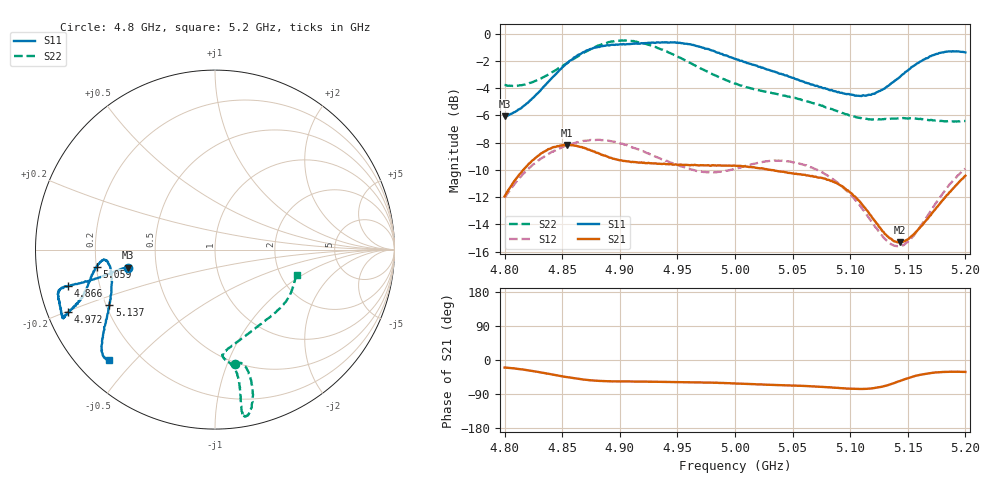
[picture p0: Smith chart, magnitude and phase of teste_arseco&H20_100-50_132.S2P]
! Network Analyzer HP8722D
! Hewlett-Packard
! Data name: Linha & Wilkinson
! Saver's name: Rodrigo Anjos
! Comments: Teste da utilização de aquisição
! continua pelo VNA HP8722D
! Time and date: 6/5/2025 13:40
!  Frequency  S11  S21  S12  S22
# HZ  S  MA R 50
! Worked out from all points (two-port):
!   401 points, 4.8 GHz to 5.2 GHz, reference 50 ohm
!   highest |S21| = -8.17 dB at 4.854 GHz (marker M1); lowest = -15.3 dB at 5.143 GHz (marker M2)
!   |S21| within 3 dB of the highest: 4.806 GHz to 5.092 GHz (286.5 MHz wide, 5.79 % of centre); 5.191366 GHz to end of sweep
!   lowest |S11| = -6.1 dB at 4.8 GHz (marker M3), VSWR 2.98, Z = 16.9 - j4.53 ohm
!   |S11| at or under -10 dB: nowhere
!   |S22| runs from -6.5 to -0.5 dB; largest |S21 - S12| = 0.62
!   S11 on the Smith chart (normalised r, x): 4.8 GHz: 0.34, -0.09; 4.866 GHz: 0.09, -0.12; 4.972 GHz: 0.06, -0.20; 5.059 GHz: 0.20, -0.07; 5.137 GHz: 0.21, -0.23; 5.2 GHz: 0.09, -0.42
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4.8e9  0.4975 -168.3  0.2528 -19.9  0.2497 -141.1  0.6485 -80.3
4.829e9  0.6054 -167.1  0.3557 -31.4  0.3419 -145.4  0.6783 -75.3
4.854e9  0.7776 -166.0  0.3906 -45.1  0.3887 -150.1  0.7794 -74.8
4.866e9  0.8428 -166.1  0.3837 -50.5  0.4017 -152.1  0.8387 -75.4
4.867e9  0.8481 -165.9  0.3836 -51.1  0.4022 -152.2  0.842 -75.5
4.899e9  0.9125 -163.1  0.344 -56.7  0.3969 -156.8  0.942 -79.2
4.934e9  0.9279 -156.6  0.3331 -57.5  0.3501 -155.7  0.8823 -80.5
4.951e9  0.9246 -155.8  0.3301 -58.3  0.328 -152.7  0.8199 -80.0
4.972e9  0.8882 -156.9  0.3291 -59.2  0.3108 -146.4  0.7389 -79.8
5e9  0.8083 -159.1  0.3276 -62.0  0.3194 -137.4  0.6554 -81.3
5.036e9  0.7208 -165.8  0.3138 -66.1  0.3413 -134.5  0.6002 -85.7
5.059e9  0.6669 -171.7  0.3034 -68.3  0.3308 -136.3  0.5699 -84.5
5.067e9  0.6502 -173.2  0.3005 -69.3  0.3223 -136.9  0.5569 -82.6
5.085e9  0.6166 -174.6  0.2862 -72.8  0.2925 -138.6  0.5272 -75.9
5.102e9  0.5958 -171.9  0.2571 -76.0  0.2521 -138.8  0.4977 -66.0
5.116e9  0.5971 -165.6  0.2205 -75.9  0.2117 -135.4  0.4846 -55.8
5.134e9  0.648 -154.4  0.1776 -64.9  0.1702 -120.5  0.4862 -43.2
5.137e9  0.6628 -152.5  0.1741 -62.1  0.1676 -116.7  0.488 -41.5
5.143e9  0.6927 -149.4  0.1712 -55.7  0.1659 -108.7  0.4886 -38.0
5.154e9  0.7568 -144.6  0.1817 -44.4  0.1794 -95.0  0.4888 -32.2
5.173e9  0.8369 -139.1  0.2245 -33.4  0.2337 -80.8  0.4806 -24.3
5.2e9  0.8534 -133.7  0.3009 -31.5  0.3197 -77.1  0.4774 -17.6
